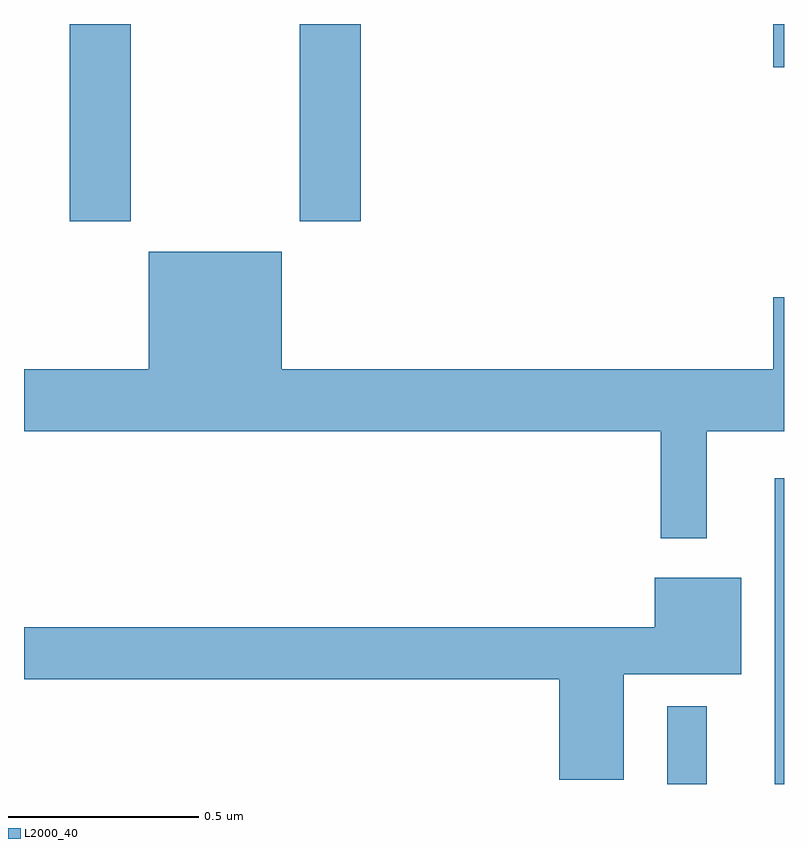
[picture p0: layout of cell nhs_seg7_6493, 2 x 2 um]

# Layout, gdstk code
import gdstk
lib = gdstk.Library(unit=1e-6, precision=1e-09)
def R(c, l, rs):  # rectangles x0, y0, x1, y1
    for r in rs: c.add(gdstk.rectangle(r[:2], r[2:], *l))
def P(c, l, *ps):  # polygons
    for p in ps: c.add(gdstk.Polygon(p, *l))
L2000_40 = (2000, 40)

nhs_seg7_6493 = lib.new_cell('nhs_seg7_6493')
R(nhs_seg7_6493, L2000_40, [(200.693,1021,200.797,1021.204), (200.975,1021,201,1021.804), (199.121,1022.481,199.281,1023), (199.726,1022.481,199.886,1023), (200.972,1022.886,201,1023)])
P(nhs_seg7_6493, L2000_40, [(200.797,1021.928),(201,1021.928),(201,1022.281),(200.972,1022.281),(200.972,1022.092),(199.678,1022.092),(199.678,1022.401),(199.328,1022.401),(199.328,1022.092),(199,1022.092),(199,1021.928),(200.676,1021.928),(200.676,1021.647),(200.797,1021.647)],
  [(200.578,1021.289),(200.887,1021.289),(200.887,1021.543),(200.66,1021.543),(200.66,1021.412),(199,1021.412),(199,1021.276),(200.408,1021.276),(200.408,1021.011),(200.578,1021.011)])

lib.write_gds('nhs_seg7_6493.gds')
